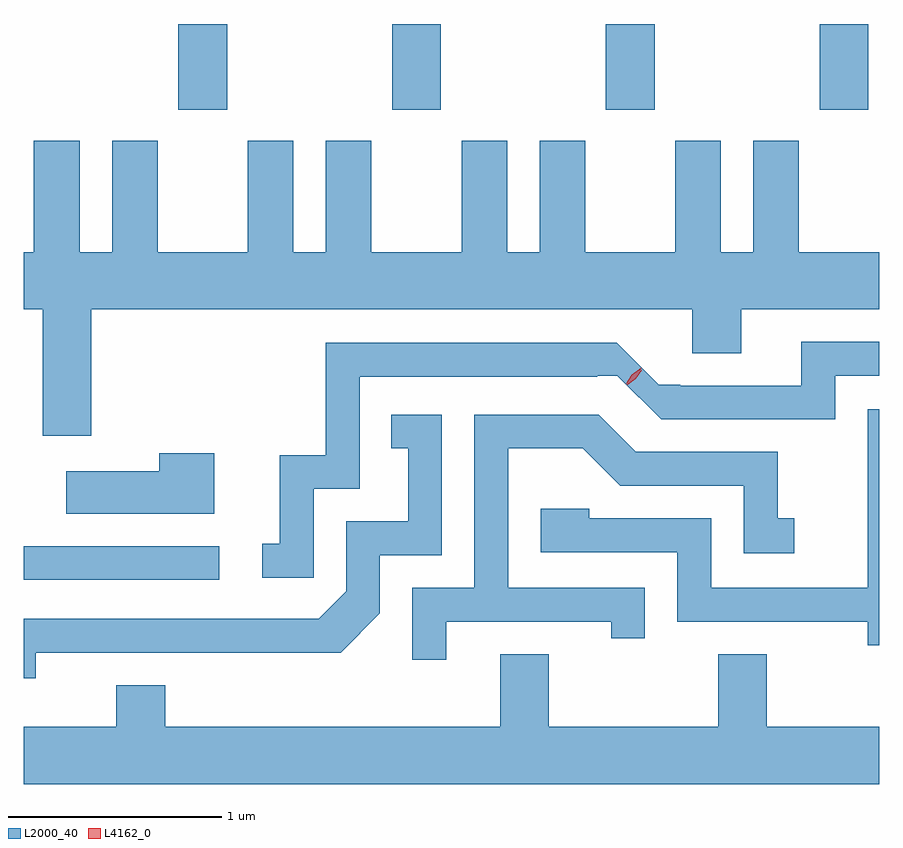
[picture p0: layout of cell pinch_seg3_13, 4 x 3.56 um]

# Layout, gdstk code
import gdstk
lib = gdstk.Library(unit=1e-6, precision=1e-09)
def R(c, l, rs):  # rectangles x0, y0, x1, y1
    for r in rs: c.add(gdstk.rectangle(r[:2], r[2:], *l))
def A(c, l, x, y, w, h, nx, ny, dx, dy):  # array of equal rectangles
    R(c, l, [(x+i*dx, y+j*dy, x+i*dx+w, y+j*dy+h) for i in range(nx) for j in range(ny)])
def P(c, l, *ps):  # polygons
    for p in ps: c.add(gdstk.Polygon(p, *l))
L2000_40 = (2000, 40)
L4162_0 = (4162, 0)

pinch_seg3_13 = lib.new_cell('pinch_seg3_13')
A(pinch_seg3_13, L2000_40, 821.786, 1193.551, 0.228, 0.4, 4, 1, 1, 0)
R(pinch_seg3_13, L2000_40, [(821.064,1191.351,821.978,1191.509)])
P(pinch_seg3_13, L2000_40, [(821.379,1192.616),(824.191,1192.616),(824.191,1192.411),(824.419,1192.411),(824.419,1192.616),(825.064,1192.616),(825.064,1192.884),(824.689,1192.884),(824.689,1193.404),(824.476,1193.404),(824.476,1192.884),(824.324,1192.884),(824.324,1193.404),(824.111,1193.404),(824.111,1192.884),(823.689,1192.884),(823.689,1193.404),(823.476,1193.404),(823.476,1192.884),(823.324,1192.884),(823.324,1193.404),(823.111,1193.404),(823.111,1192.884),(822.689,1192.884),(822.689,1193.404),(822.476,1193.404),(822.476,1192.884),(822.324,1192.884),(822.324,1193.404),(822.111,1193.404),(822.111,1192.884),(821.689,1192.884),(821.689,1193.404),(821.476,1193.404),(821.476,1192.884),(821.324,1192.884),(821.324,1193.404),(821.111,1193.404),(821.111,1192.884),(821.064,1192.884),(821.064,1192.616),(821.151,1192.616),(821.151,1192.026),(821.379,1192.026)],
  [(822.419,1191.776),(822.634,1191.776),(822.634,1192.301),(823.745,1192.301),(823.745,1192.305),(823.84,1192.305),(824.044,1192.101),(824.859,1192.101),(824.859,1192.306),(825.064,1192.306),(825.064,1192.464),(824.701,1192.464),(824.701,1192.259),(824.135,1192.259),(824.135,1192.263),(824.033,1192.263),(823.837,1192.459),(822.476,1192.459),(822.476,1191.934),(822.261,1191.934),(822.261,1191.519),(822.178,1191.519),(822.178,1191.361),(822.419,1191.361)],
  [(825.064,1192.149),(825.011,1192.149),(825.011,1191.314),(824.279,1191.314),(824.279,1191.639),(823.709,1191.639),(823.709,1191.684),(823.481,1191.684),(823.481,1191.481),(824.121,1191.481),(824.121,1191.156),(825.011,1191.156),(825.011,1191.046),(825.064,1191.046)],
  [(823.039,1191.156),(823.811,1191.156),(823.811,1191.078),(823.969,1191.078),(823.969,1191.314),(823.329,1191.314),(823.329,1191.966),(823.679,1191.966),(823.854,1191.791),(824.431,1191.791),(824.431,1191.476),(824.668,1191.476),(824.668,1191.639),(824.589,1191.639),(824.589,1191.949),(823.927,1191.949),(823.752,1192.124),(823.171,1192.124),(823.171,1191.314),(822.881,1191.314),(822.881,1190.978),(823.039,1190.978)],
  [(821.119,1191.011),(822.547,1191.011),(822.729,1191.194),(822.729,1191.466),(823.019,1191.466),(823.019,1192.124),(822.783,1192.124),(822.783,1191.966),(822.861,1191.966),(822.861,1191.624),(822.571,1191.624),(822.571,1191.297),(822.444,1191.169),(821.064,1191.169),(821.064,1190.891),(821.119,1190.891)],
  [(821.954,1191.944),(821.696,1191.944),(821.696,1191.859),(821.261,1191.859),(821.261,1191.661),(821.954,1191.661)],
  [(825.064,1190.664),(824.539,1190.664),(824.539,1191.004),(824.311,1191.004),(824.311,1190.664),(823.519,1190.664),(823.519,1191.004),(823.291,1191.004),(823.291,1190.664),(821.724,1190.664),(821.724,1190.859),(821.496,1190.859),(821.496,1190.664),(821.064,1190.664),(821.064,1190.396),(825.064,1190.396)])
P(pinch_seg3_13, L4162_0, [(823.878,1192.266),(823.878,1192.267),(823.908,1192.311),(823.951,1192.342),(823.951,1192.342),(823.951,1192.341),(823.922,1192.297),(823.879,1192.266)],
  [(823.887,1192.264),(823.887,1192.265),(823.913,1192.305),(823.953,1192.333),(823.953,1192.333),(823.953,1192.332),(823.927,1192.292),(823.888,1192.264)])

lib.write_gds('pinch_seg3_13.gds')
